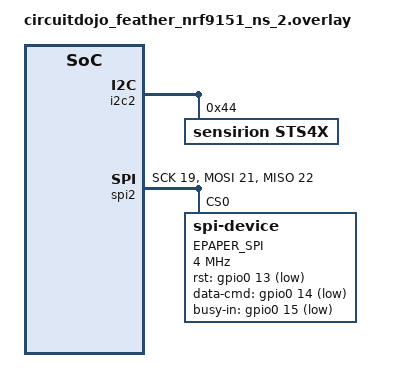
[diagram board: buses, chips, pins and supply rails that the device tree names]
/*
 * Copyright (c) 2024 Circuit Dojo LLC
 *
 * SPDX-License-Identifier: Apache-2.0
 */

&i2c2 {

	sts4x: sts4x@44 {
		compatible = "sensirion,sts4x";
		reg = <0x44>;
		repeatability = <2>;
	};
};

&spi2 {
    compatible = "nordic,nrf-spim";
    status = "okay";

    sck-pin = <19>;
    mosi-pin = <21>;
    miso-pin = <22>;

    epaper_spi: wavshare_4_26@0 {
        compatible = "spi-device";
        reg = <0>;
        spi-max-frequency = <4000000>;
        label = "EPAPER_SPI";

		rst-gpios = <&gpio0 13 GPIO_ACTIVE_LOW>;
		data-cmd-gpios = <&gpio0 14 GPIO_ACTIVE_LOW>;
		busy-in-gpios = <&gpio0 15 GPIO_ACTIVE_LOW>;
	    cs-gpios = <&gpio0 16 GPIO_ACTIVE_LOW>;
	};
};

